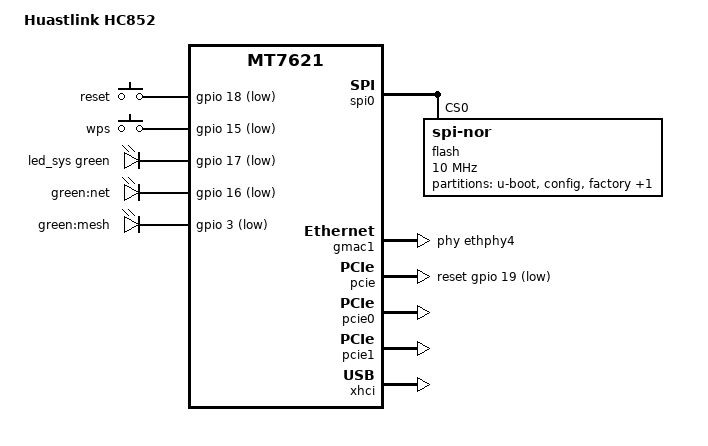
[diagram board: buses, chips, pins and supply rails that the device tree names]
// SPDX-License-Identifier: GPL-2.0-or-later OR MIT

#include "mt7621.dtsi"

#include <dt-bindings/gpio/gpio.h>
#include <dt-bindings/input/input.h>
#include <dt-bindings/leds/common.h>

/ {
	compatible = "huastlink,hc852", "mediatek,mt7621-soc";
	model = "Huastlink HC852";

	aliases {
		label-mac-device = &gmac0;
		led-boot = &led_sys;
		led-failsafe = &led_sys;
		led-running = &led_sys;
		led-upgrade = &led_sys;
	};

	chosen {
		/*
		 * Override MT7621 default (57600) to keep serial output stable
		 * with common USB-TTL adapters.
		 */
		stdout-path = "serial0:115200n8";
		bootargs = "console=ttyS0,115200 rootfstype=squashfs,jffs2";
	};

	gpio-keys {
		compatible = "gpio-keys";

		reset {
			label = "reset";
			gpios = <&gpio 18 GPIO_ACTIVE_LOW>;
			linux,code = <KEY_RESTART>;
		};

		wps {
			label = "wps";
			gpios = <&gpio 15 GPIO_ACTIVE_LOW>;
			linux,code = <KEY_WPS_BUTTON>;
		};
	};

	gpio-leds {
		compatible = "gpio-leds";

		led_sys: sys {
			color = <LED_COLOR_ID_GREEN>;
			function = LED_FUNCTION_STATUS;
			gpios = <&gpio 17 GPIO_ACTIVE_LOW>;
		};

		net {
			label = "green:net";
			gpios = <&gpio 16 GPIO_ACTIVE_LOW>;
		};

		mesh {
			label = "green:mesh";
			gpios = <&gpio 3 GPIO_ACTIVE_LOW>;
		};
	};
};

&spi0 {
	status = "okay";

	flash@0 {
		compatible = "jedec,spi-nor";
		reg = <0>;
		spi-max-frequency = <10000000>;

		partitions {
			compatible = "fixed-partitions";
			#address-cells = <1>;
			#size-cells = <1>;

			partition@0 {
				label = "u-boot";
				reg = <0x00000 0x30000>;
				read-only;
			};

			partition@30000 {
				label = "config";
				reg = <0x30000 0x10000>;
				read-only;
			};

			factory: partition@50000 {
				label = "factory";
				reg = <0x50000 0x40000>;
				read-only;

				nvmem-layout {
					compatible = "fixed-layout";
					#address-cells = <1>;
					#size-cells = <1>;

					macaddr_factory_4: macaddr@4 {
						compatible = "mac-base";
						reg = <0x4 0x6>;
						#nvmem-cell-cells = <1>;
					};
				};
			};

			partition@90000 {
				compatible = "denx,fit";
				label = "firmware";
				reg = <0x90000 0x1f70000>;
			};
		};
	};
};

&gmac0 {
	nvmem-cells = <&macaddr_factory_4 0>;
	nvmem-cell-names = "mac-address";
};

&gmac1 {
	status = "okay";
	label = "wan";
	phy-handle = <&ethphy4>;
	nvmem-cells = <&macaddr_factory_4 1>;
	nvmem-cell-names = "mac-address";
};

&ethphy4 {
	/delete-property/ interrupts;
};

&ethernet {
	pinctrl-0 = <&mdio_pins>, <&rgmii1_pins>;
};

&switch0 {
	ports {
		port@0 {
			status = "okay";
			label = "lan1";
		};

		port@1 {
			status = "okay";
			label = "lan2";
		};

		port@2 {
			status = "okay";
			label = "lan3";
		};

		port@3 {
			status = "okay";
			label = "lan4";
		};

		port@4 {
			status = "okay";
			label = "wan";
		};
	};
};

&pcie {
	status = "okay";

	/*
	 * Derived from the vendor DTB extracted from running firmware.
	 * Keeping all reset lines avoids partial PCIe initialization.
	 */
	reset-gpios = <&gpio 19 GPIO_ACTIVE_LOW>,
		      <&gpio 27 GPIO_ACTIVE_LOW>,
		      <&gpio 1 GPIO_ACTIVE_LOW>;
};

/*
 * Keep PCIe slots generic for LTE/WWAN cards.
 * Do not pre-bind mt76 Wi-Fi nodes on this board variant.
 */
&pcie0 {
	status = "okay";
};

&pcie1 {
	status = "okay";
};

&xhci {
	status = "okay";
	/*
	 * Keep LTE modems on USB2 path for stability on this board.
	 * This reduces xHCI resource pressure seen as "can't set config #1".
	 */
	mediatek,u3p-dis-msk = <0x1>;
};

&state_default {
	gpio {
		groups = "i2c", "jtag", "uart2", "uart3", "wdt";
		function = "gpio";
	};
};
